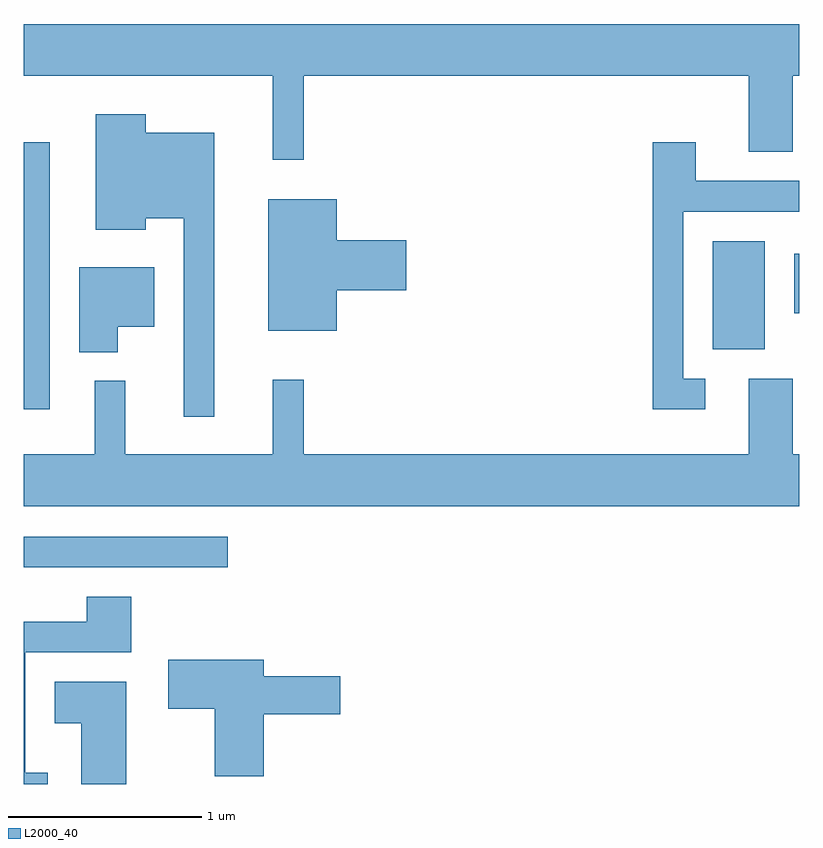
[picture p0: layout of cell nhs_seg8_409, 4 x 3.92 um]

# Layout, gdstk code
import gdstk
lib = gdstk.Library(unit=1e-6, precision=1e-09)
def R(c, l, rs):  # rectangles x0, y0, x1, y1
    for r in rs: c.add(gdstk.rectangle(r[:2], r[2:], *l))
def P(c, l, *ps):  # polygons
    for p in ps: c.add(gdstk.Polygon(p, *l))
L2000_40 = (2000, 40)

nhs_seg8_409 = lib.new_cell('nhs_seg8_409')
R(nhs_seg8_409, L2000_40, [(197.611,1809.461,198.663,1809.619), (197.611,1810.276,197.744,1811.654), (201.166,1810.586,201.434,1811.144), (201.586,1810.771,201.611,1811.079)])
P(nhs_seg8_409, L2000_40, [(199.054,1811.996),(201.351,1811.996),(201.351,1811.606),(201.579,1811.606),(201.579,1811.996),(201.611,1811.996),(201.611,1812.264),(197.611,1812.264),(197.611,1811.996),(198.896,1811.996),(198.896,1811.563),(199.054,1811.563)],
  [(198.594,1811.704),(198.239,1811.704),(198.239,1811.799),(197.981,1811.799),(197.981,1811.201),(198.239,1811.201),(198.239,1811.261),(198.436,1811.261),(198.436,1810.238),(198.594,1810.238)],
  [(201.128,1810.434),(201.014,1810.434),(201.014,1811.296),(201.611,1811.296),(201.611,1811.454),(201.079,1811.454),(201.079,1811.654),(200.856,1811.654),(200.856,1810.276),(201.128,1810.276)],
  [(199.224,1810.891),(199.584,1810.891),(199.584,1811.149),(199.224,1811.149),(199.224,1811.359),(198.871,1811.359),(198.871,1810.681),(199.224,1810.681)],
  [(198.094,1810.701),(198.284,1810.701),(198.284,1811.009),(197.896,1811.009),(197.896,1810.571),(198.094,1810.571)],
  [(201.611,1810.044),(201.579,1810.044),(201.579,1810.434),(201.351,1810.434),(201.351,1810.044),(199.054,1810.044),(199.054,1810.428),(198.896,1810.428),(198.896,1810.044),(198.134,1810.044),(198.134,1810.423),(197.976,1810.423),(197.976,1810.044),(197.611,1810.044),(197.611,1809.776),(201.611,1809.776)],
  [(197.734,1808.399),(197.619,1808.399),(197.619,1809.021),(198.164,1809.021),(198.164,1809.309),(197.936,1809.309),(197.936,1809.179),(197.611,1809.179),(197.611,1808.342),(197.734,1808.342)],
  [(198.849,1808.701),(199.244,1808.701),(199.244,1808.899),(198.849,1808.899),(198.849,1808.984),(198.356,1808.984),(198.356,1808.731),(198.596,1808.731),(198.596,1808.381),(198.849,1808.381)],
  [(198.139,1808.869),(197.771,1808.869),(197.771,1808.656),(197.906,1808.656),(197.906,1808.342),(198.139,1808.342)])

lib.write_gds('nhs_seg8_409.gds')
